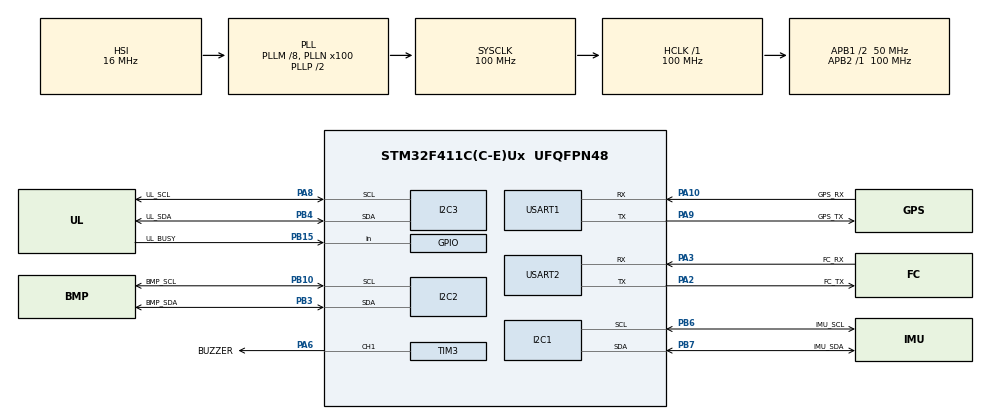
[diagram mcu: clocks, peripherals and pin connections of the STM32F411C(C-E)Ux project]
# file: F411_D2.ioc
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I2C1.I2C_Mode=I2C_Fast
I2C2.I2C_Mode=I2C_Fast
I2C3.I2C_Mode=I2C_Fast
Mcu.Family=STM32F4
Mcu.Name=STM32F411C(C-E)Ux
Mcu.Package=UFQFPN48
NVIC.PriorityGroup=NVIC_PRIORITYGROUP_4
NVIC.RCC_IRQn=true\:0\:0\:false\:false\:true\:true\:false\:true
NVIC.TIM4_IRQn=true\:0\:0\:false\:false\:true\:true\:true\:true
NVIC.USART1_IRQn=true\:0\:0\:false\:false\:true\:true\:true\:true
NVIC.USART2_IRQn=true\:0\:0\:false\:false\:true\:true\:true\:true
PA10.GPIO_Label=GPS_RX
PA10.GPIO_Speed=GPIO_SPEED_FREQ_HIGH
PA10.Mode=Asynchronous
PA10.Signal=USART1_RX
PA2.GPIO_Label=FC_TX
PA2.Mode=Asynchronous
PA2.Signal=USART2_TX
PA3.GPIO_Label=FC_RX
PA3.Mode=Asynchronous
PA3.Signal=USART2_RX
PA6.GPIO_Label=BUZZER
PA6.GPIO_Speed=GPIO_SPEED_FREQ_LOW
PA6.Signal=S_TIM3_CH1
PA8.GPIO_Label=UL_SCL
PA8.GPIO_Speed=GPIO_SPEED_FREQ_HIGH
PA8.Mode=I2C
PA8.Signal=I2C3_SCL
PA9.GPIO_Label=GPS_TX
PA9.GPIO_Speed=GPIO_SPEED_FREQ_HIGH
PA9.Mode=Asynchronous
PA9.Signal=USART1_TX
PB10.GPIO_Label=BMP_SCL
PB10.GPIO_Speed=GPIO_SPEED_FREQ_HIGH
PB10.Mode=I2C
PB10.Signal=I2C2_SCL
PB15.GPIO_Label=UL_BUSY
PB15.Signal=GPIO_Input
PB3.GPIO_Label=BMP_SDA
PB3.GPIO_Speed=GPIO_SPEED_FREQ_HIGH
PB3.Mode=I2C
PB3.Signal=I2C2_SDA
PB4.GPIO_Label=UL_SDA
PB4.GPIO_Speed=GPIO_SPEED_FREQ_HIGH
PB4.Mode=I2C
PB4.Signal=I2C3_SDA
PB6.GPIO_Label=IMU_SCL
PB6.Mode=I2C
PB6.Signal=I2C1_SCL
PB7.GPIO_Label=IMU_SDA
PB7.Mode=I2C
PB7.Signal=I2C1_SDA
ProjectManager.HeapSize=0x200
ProjectManager.StackSize=0x400
ProjectManager.TargetToolchain=STM32CubeIDE
RCC.48MHZClocksFreq_Value=50000000
RCC.AHBFreq_Value=100000000
RCC.APB1CLKDivider=RCC_HCLK_DIV2
RCC.APB1Freq_Value=50000000
RCC.APB1TimFreq_Value=100000000
RCC.APB2Freq_Value=100000000
RCC.APB2TimFreq_Value=100000000
RCC.CortexFreq_Value=100000000
RCC.HCLKFreq_Value=100000000
RCC.HSE_VALUE=25000000
RCC.HSI_VALUE=16000000
RCC.LSE_VALUE=32768
RCC.PLLM=8
RCC.PLLN=100
RCC.RCC_RTC_Clock_Source=RCC_RTCCLKSOURCE_LSI
RCC.RCC_RTC_Clock_SourceVirtual=RCC_RTCCLKSOURCE_HSE_DIV30
RCC.RCC_RTC_Clock_Source_FROM_HSE=RCC_RTCCLKSOURCE_HSE_DIV25
RCC.SYSCLKFreq_VALUE=100000000
RCC.SYSCLKSource=RCC_SYSCLKSOURCE_PLLCLK
RCC.VCOOutputFreq_Value=200000000
RTC.HourFormat=RTC_HOURFORMAT_24
SH.S_TIM3_CH1.0=TIM3_CH1,PWM Generation1 CH1
TIM10.Prescaler=100-1
TIM3.Channel-PWM\ Generation1\ CH1=TIM_CHANNEL_1
TIM3.Period=250-1
TIM3.Prescaler=100-1
TIM4.AutoReloadPreload=TIM_AUTORELOAD_PRELOAD_ENABLE
TIM4.Period=60000-1
TIM4.Prescaler=100-1
USART1.VirtualMode=VM_ASYNC
USART2.VirtualMode=VM_ASYNC
VP_RTC_VS_RTC_Activate.Mode=RTC_Enabled
VP_TIM10_VS_ClockSourceINT.Mode=Enable_Timer
VP_TIM4_VS_ClockSourceINT.Mode=Internal
board=custom

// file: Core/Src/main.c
/* USER CODE BEGIN Header */
/**
 ******************************************************************************
 * @file           : main.c
 * @brief          : Main program body
 ******************************************************************************
 * @attention
 *
 * Copyright (c) 2024 STMicroelectronics.
 * All rights reserved.
 *
 * This software is licensed under terms that can be found in the LICENSE file
 * in the root directory of this software component.
 * If no LICENSE file comes with this software, it is provided AS-IS.
 *
 ******************************************************************************
 */
/* USER CODE END Header */
#include "main.h"
#include "i2c.h"
#include "rtc.h"
#include "tim.h"
#include "usart.h"
#include "gpio.h"

/* USER CODE BEGIN Includes */
#include "init.h"
#include "timer.h"
#include "imu.h"
#include "gps.h"
#include "bmp280.h"
#include "buzzer.h"
#include "bridge.h"
#include "ultrasonic.h"
#include "flight_control.h"
/* USER CODE END Includes */

/* USER CODE BEGIN PV */

uint32_t last_tick = 0, last_rtc = 0;
uint32_t diff_us = 0, diff_sec = 0;

/* USER CODE END PV */

void SystemClock_Config(void);

int main(void)
{

  /* MCU Configuration--------------------------------------------------------*/

  /* Reset of all peripherals, Initializes the Flash interface and the Systick. */
  HAL_Init();

  /* Configure the system clock */
  SystemClock_Config();

  /* Initialize all configured peripherals */
  MX_GPIO_Init();
  MX_I2C1_Init();
  MX_USART1_UART_Init();
  MX_I2C2_Init();
  MX_TIM4_Init();
  MX_USART2_UART_Init();
  MX_I2C3_Init();
  MX_TIM3_Init();
  MX_TIM10_Init();
  MX_RTC_Init();
  /* USER CODE BEGIN 2 */

// STATUS
	HAL_StatusTypeDef status = HAL_OK;
// PRE-INIT
	pre_init();

// Initialize Bridge
	if (HAL_OK != (status = bridge_init(&huart2))) {
		return status;
	}

// Initialize IMU = ACCEL + GYRO + MAGNETOMETER
	if (BMI160_OK != imu_init(&htim10, &hi2c1)) {
		return get_imu()->result;
	}

// Initialize pressure and temperature sensor
//	if (BMP2_OK != bmp280_init(&hi2c2)) {
//		return get_bmp()->result;
//	}

// Initialize GPS
//	gps_init(&huart1);
//	gps_config_ubx();

// Initialize Ultrasonic
//	ultrasonic_init(&hi2c3, UL_BUSY_GPIO_Port, UL_BUSY_Pin);

// Initialize Buzzer
//	buzzer_init(&htim3, TIM_CHANNEL_1);

// Get data from IMU + MAGNETOMETER
	if (BMI160_OK != imu_get_data()) {
		return get_imu()->result_data;
	}

// Get data from GPS
//	gps_get_data();

  /* USER CODE END 2 */

  /* Infinite loop */
  /* USER CODE BEGIN WHILE */

// main loop
	last_rtc = timer_rtc_sec();
	while (1) {

//collect data
		last_tick = timer_tim4_us();
		if (BMI160_OK != imu_get_data()) {
			return get_imu()->result_data; // TODO handle error and do prediction/recovery
		}
		diff_us = timer_tim4_diff_us(last_tick);
// process data
		flight_imu_calibration(last_tick, diff_us);
		flight_ahrs(last_tick, diff_us);

//		if (BMP2_OK != bmp280_get_data()) { // FIXME alternated sensing without while/delay
//			return get_bmp()->result_data;
//		}
//		gps_get_data();		   // FIXME change to interrupt
//		ultrasonic_get_data(); // FIXME alternated sensing without while/delay

//		int16_t bottom_distance = ultrasonic_get_data();
//		buzzer_start(bottom_distance);
//		HAL_StatusTypeDef status = bridge_transmit("4200;4200;4200;4200;1400;");
//		if (HAL_BUSY == status) {
//			HAL_Delay(100);
//		}
// ahrs
//		flight_ahrs();
		diff_sec = timer_rtc_diff_sec(last_rtc);
	}
    /* USER CODE END WHILE */

    /* USER CODE BEGIN 3 */

// Deinitialize BUZZER
//		buzzer_deinit();
  /* USER CODE END 3 */
}

void SystemClock_Config(void)
{
  RCC_OscInitTypeDef RCC_OscInitStruct = {0};
  RCC_ClkInitTypeDef RCC_ClkInitStruct = {0};

  /** Configure the main internal regulator output voltage
  */
  __HAL_RCC_PWR_CLK_ENABLE();
  __HAL_PWR_VOLTAGESCALING_CONFIG(PWR_REGULATOR_VOLTAGE_SCALE1);

  /** Initializes the RCC Oscillators according to the specified parameters
  * in the RCC_OscInitTypeDef structure.
  */
  RCC_OscInitStruct.OscillatorType = RCC_OSCILLATORTYPE_HSI|RCC_OSCILLATORTYPE_LSI;
  RCC_OscInitStruct.HSIState = RCC_HSI_ON;
  RCC_OscInitStruct.HSICalibrationValue = RCC_HSICALIBRATION_DEFAULT;
  RCC_OscInitStruct.LSIState = RCC_LSI_ON;
  RCC_OscInitStruct.PLL.PLLState = RCC_PLL_ON;
  RCC_OscInitStruct.PLL.PLLSource = RCC_PLLSOURCE_HSI;
  RCC_OscInitStruct.PLL.PLLM = 8;
  RCC_OscInitStruct.PLL.PLLN = 100;
  RCC_OscInitStruct.PLL.PLLP = RCC_PLLP_DIV2;
  RCC_OscInitStruct.PLL.PLLQ = 4;
  if (HAL_RCC_OscConfig(&RCC_OscInitStruct) != HAL_OK)
  {
    Error_Handler();
  }

  /** Initializes the CPU, AHB and APB buses clocks
  */
  RCC_ClkInitStruct.ClockType = RCC_CLOCKTYPE_HCLK|RCC_CLOCKTYPE_SYSCLK
                              |RCC_CLOCKTYPE_PCLK1|RCC_CLOCKTYPE_PCLK2;
  RCC_ClkInitStruct.SYSCLKSource = RCC_SYSCLKSOURCE_PLLCLK;
  RCC_ClkInitStruct.AHBCLKDivider = RCC_SYSCLK_DIV1;
  RCC_ClkInitStruct.APB1CLKDivider = RCC_HCLK_DIV2;
  RCC_ClkInitStruct.APB2CLKDivider = RCC_HCLK_DIV1;

  if (HAL_RCC_ClockConfig(&RCC_ClkInitStruct, FLASH_LATENCY_3) != HAL_OK)
  {
    Error_Handler();
  }
}

void Error_Handler(void)
{
	__disable_irq();
	while (1) {
	}
}
